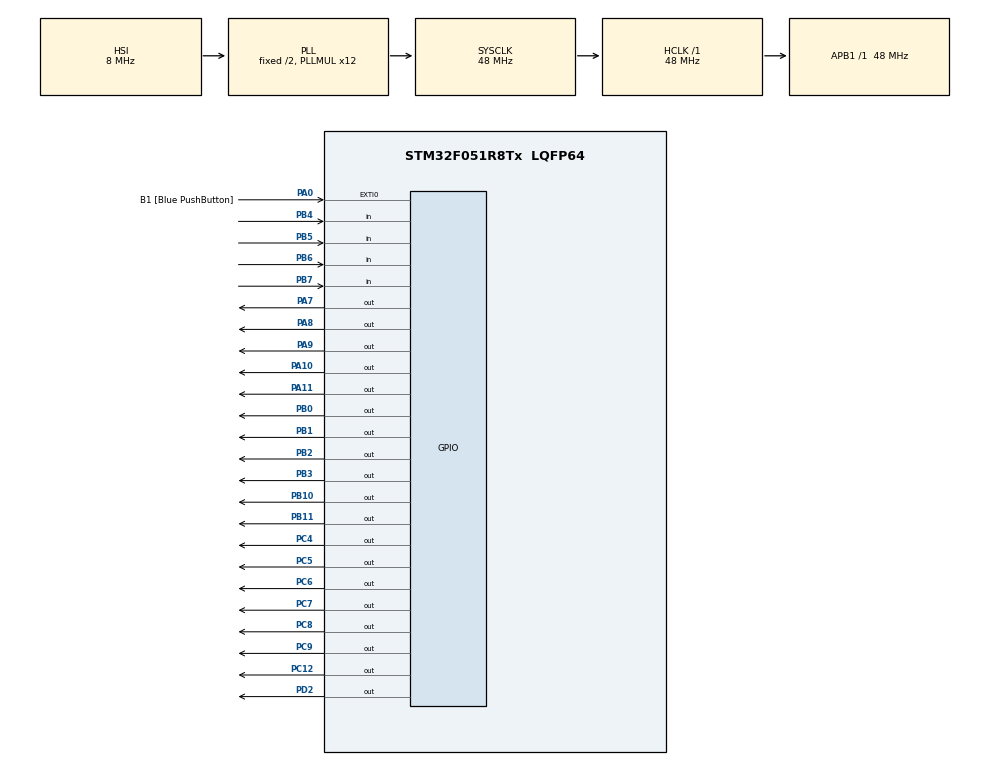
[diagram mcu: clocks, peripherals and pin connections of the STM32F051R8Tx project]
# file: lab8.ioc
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Mcu.Family=STM32F0
Mcu.Name=STM32F051R8Tx
Mcu.Package=LQFP64
NVIC.TIM1_BRK_UP_TRG_COM_IRQn=true\:0\:0\:false\:false\:true\:true
PA0.GPIO_Label=B1 [Blue PushButton]
PA0.GPIO_ModeDefaultEXTI=GPIO_MODE_EVT_RISING
PA0.Signal=GPXTI0
PA10.Signal=GPIO_Output
PA11.Signal=GPIO_Output
PA13.GPIO_Label=SWDIO
PA13.Mode=Serial_Wire
PA13.Signal=SYS_SWDIO
PA14.GPIO_Label=SWCLK
PA14.Mode=Serial_Wire
PA14.Signal=SYS_SWCLK
PA7.Signal=GPIO_Output
PA8.Signal=GPIO_Output
PA9.Signal=GPIO_Output
PB0.Signal=GPIO_Output
PB1.Signal=GPIO_Output
PB10.Signal=GPIO_Output
PB11.Signal=GPIO_Output
PB2.Signal=GPIO_Output
PB3.Signal=GPIO_Output
PB4.Signal=GPIO_Input
PB5.Signal=GPIO_Input
PB6.Signal=GPIO_Input
PB7.Signal=GPIO_Input
PC12.Signal=GPIO_Output
PC4.Signal=GPIO_Output
PC5.Signal=GPIO_Output
PC6.Signal=GPIO_Output
PC7.Signal=GPIO_Output
PC8.Signal=GPIO_Output
PC9.Signal=GPIO_Output
PD2.Signal=GPIO_Output
ProjectManager.HeapSize=0x200
ProjectManager.StackSize=0x400
ProjectManager.TargetToolchain=SW4STM32
RCC.AHBFreq_Value=48000000
RCC.APB1Freq_Value=48000000
RCC.APB1TimFreq_Value=48000000
RCC.HCLKFreq_Value=48000000
RCC.PLLMUL=RCC_PLL_MUL12
RCC.SYSCLKFreq_VALUE=48000000
RCC.SYSCLKSource=RCC_SYSCLKSOURCE_PLLCLK
TIM1.Period=49
TIM1.Prescaler=7999
TIM1.TIM_MasterOutputTrigger=TIM_TRGO_RESET
VP_TIM1_VS_ClockSourceINT.Mode=Internal
board=STM32F0DISCOVERY

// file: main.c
/**
 ******************************************************************************
 * @file           : main.c
 * @brief          : Main program body
 ******************************************************************************
 ** This notice applies to any and all portions of this file
 * that are not between comment pairs USER CODE BEGIN and
 * USER CODE END. Other portions of this file, whether
 * inserted by the user or by software development tools
 * are owned by their respective copyright owners.
 *
 * COPYRIGHT(c) 2018 STMicroelectronics
 *
 * Redistribution and use in source and binary forms, with or without modification,
 * are permitted provided that the following conditions are met:
 *   1. Redistributions of source code must retain the above copyright notice,
 *      this list of conditions and the following disclaimer.
 *   2. Redistributions in binary form must reproduce the above copyright notice,
 *      this list of conditions and the following disclaimer in the documentation
 *      and/or other materials provided with the distribution.
 *   3. Neither the name of STMicroelectronics nor the names of its contributors
 *      may be used to endorse or promote products derived from this software
 *      without specific prior written permission.
 *
 * THIS SOFTWARE IS PROVIDED BY THE COPYRIGHT HOLDERS AND CONTRIBUTORS "AS IS"
 * AND ANY EXPRESS OR IMPLIED WARRANTIES, INCLUDING, BUT NOT LIMITED TO, THE
 * IMPLIED WARRANTIES OF MERCHANTABILITY AND FITNESS FOR A PARTICULAR PURPOSE ARE
 * DISCLAIMED. IN NO EVENT SHALL THE COPYRIGHT HOLDER OR CONTRIBUTORS BE LIABLE
 * FOR ANY DIRECT, INDIRECT, INCIDENTAL, SPECIAL, EXEMPLARY, OR CONSEQUENTIAL
 * DAMAGES (INCLUDING, BUT NOT LIMITED TO, PROCUREMENT OF SUBSTITUTE GOODS OR
 * SERVICES; LOSS OF USE, DATA, OR PROFITS; OR BUSINESS INTERRUPTION) HOWEVER
 * CAUSED AND ON ANY THEORY OF LIABILITY, WHETHER IN CONTRACT, STRICT LIABILITY,
 * OR TORT (INCLUDING NEGLIGENCE OR OTHERWISE) ARISING IN ANY WAY OUT OF THE USE
 * OF THIS SOFTWARE, EVEN IF ADVISED OF THE POSSIBILITY OF SUCH DAMAGE.
 *
 ******************************************************************************
 */
#include "main.h"
#include "stm32f0xx_hal.h"
#include "tim.h"
#include "gpio.h"

/* USER CODE BEGIN PV */
/* Private variables ---------------------------------------------------------*/
volatile int count = 0;
static TIM_HandleTypeDef s_TimerInstance = {
		.Instance = TIM1
};
/* USER CODE END PV */

void SystemClock_Config(void);

/* USER CODE BEGIN PFP */
/* Private function prototypes -----------------------------------------------*/

/* USER CODE END PFP */

int main(void)
{

	/* MCU Configuration----------------------------------------------------------*/

	/* Reset of all peripherals, Initializes the Flash interface and the Systick. */
	HAL_Init();

	/* Configure the system clock */
	SystemClock_Config();

	/* USER CODE BEGIN SysInit */
	HAL_TIM_Base_MspInit(&s_TimerInstance);
	/* USER CODE END SysInit */
	/* Initialize all configured peripherals */
	MX_GPIO_Init();
	MX_TIM1_Init();
	/* USER CODE BEGIN 2 */
	HAL_TIM_Base_Start_IT(&s_TimerInstance);
	/* USER CODE END 2 */

	/* Infinite loop */
	while (1){

	}
}
void SystemClock_Config(void)
{

	RCC_OscInitTypeDef RCC_OscInitStruct;
	RCC_ClkInitTypeDef RCC_ClkInitStruct;

	/**Initializes the CPU, AHB and APB busses clocks
	 */
	RCC_OscInitStruct.OscillatorType = RCC_OSCILLATORTYPE_HSI;
	RCC_OscInitStruct.HSIState = RCC_HSI_ON;
	RCC_OscInitStruct.HSICalibrationValue = 16;
	RCC_OscInitStruct.PLL.PLLState = RCC_PLL_ON;
	RCC_OscInitStruct.PLL.PLLSource = RCC_PLLSOURCE_HSI;
	RCC_OscInitStruct.PLL.PLLMUL = RCC_PLL_MUL12;
	RCC_OscInitStruct.PLL.PREDIV = RCC_PREDIV_DIV1;
	if (HAL_RCC_OscConfig(&RCC_OscInitStruct) != HAL_OK)
	{
		_Error_Handler(__FILE__, __LINE__);
	}

	/**Initializes the CPU, AHB and APB busses clocks
	 */
	RCC_ClkInitStruct.ClockType = RCC_CLOCKTYPE_HCLK|RCC_CLOCKTYPE_SYSCLK
			|RCC_CLOCKTYPE_PCLK1;
	RCC_ClkInitStruct.SYSCLKSource = RCC_SYSCLKSOURCE_PLLCLK;
	RCC_ClkInitStruct.AHBCLKDivider = RCC_SYSCLK_DIV1;
	RCC_ClkInitStruct.APB1CLKDivider = RCC_HCLK_DIV1;

	if (HAL_RCC_ClockConfig(&RCC_ClkInitStruct, FLASH_LATENCY_1) != HAL_OK)
	{
		_Error_Handler(__FILE__, __LINE__);
	}

	/**Configure the Systick interrupt time
	 */
	HAL_SYSTICK_Config(HAL_RCC_GetHCLKFreq()/1000);

	/**Configure the Systick
	 */
	HAL_SYSTICK_CLKSourceConfig(SYSTICK_CLKSOURCE_HCLK);

	/* SysTick_IRQn interrupt configuration */
	HAL_NVIC_SetPriority(SysTick_IRQn, 0, 0);
}

/* USER CODE BEGIN 4 */
void write1(int digit) {
	HAL_GPIO_WritePin(GPIOA, GPIO_PIN_All, GPIO_PIN_RESET);
	HAL_GPIO_WritePin(GPIOC, GPIO_PIN_All, GPIO_PIN_RESET);
	switch(digit) {
	case 0:
		HAL_GPIO_WritePin(GPIOA, 0x0F00, GPIO_PIN_SET);
		HAL_GPIO_WritePin(GPIOC, 0x0300, GPIO_PIN_SET);
		break;
	case 1:
		HAL_GPIO_WritePin(GPIOA,0x0600, GPIO_PIN_SET);
		break;
	case 2:
		HAL_GPIO_WritePin(GPIOA, 0x0D00, GPIO_PIN_SET);
		HAL_GPIO_WritePin(GPIOC, 0x0280, GPIO_PIN_SET);
		break;
	case 3:
		HAL_GPIO_WritePin(GPIOA, 0x0F00, GPIO_PIN_SET);
		HAL_GPIO_WritePin(GPIOC, 0x0080, GPIO_PIN_SET);
		break;
	case 4:
		HAL_GPIO_WritePin(GPIOA, 0x0600, GPIO_PIN_SET);
		HAL_GPIO_WritePin(GPIOC, 0x0180, GPIO_PIN_SET);
		break;
	case 5:
		HAL_GPIO_WritePin(GPIOA, 0x0B00, GPIO_PIN_SET);
		HAL_GPIO_WritePin(GPIOC, 0x0180, GPIO_PIN_SET);
		break;
	case 6:
		HAL_GPIO_WritePin(GPIOA, 0x0B00, GPIO_PIN_SET);
		HAL_GPIO_WritePin(GPIOC, 0x0380, GPIO_PIN_SET);
		break;
	case 7:
		HAL_GPIO_WritePin(GPIOA, 0x0E00, GPIO_PIN_SET);
		break;
	case 8:
		HAL_GPIO_WritePin(GPIOA, 0x0F00, GPIO_PIN_SET);
		HAL_GPIO_WritePin(GPIOC, 0x0380, GPIO_PIN_SET);
		break;
	case 9:
		HAL_GPIO_WritePin(GPIOA, 0x0E00, GPIO_PIN_SET);
		HAL_GPIO_WritePin(GPIOC, 0x0180, GPIO_PIN_SET);
		break;
	}
}

void write10(int digit) {
	HAL_GPIO_WritePin(GPIOA, 0x0F00, GPIO_PIN_RESET);
	HAL_GPIO_WritePin(GPIOC, 0x0380, GPIO_PIN_RESET);
	switch(digit) {
	case 0:
		HAL_GPIO_WritePin(GPIOA, 0x0F00, GPIO_PIN_SET);
		HAL_GPIO_WritePin(GPIOC, 0x0300, GPIO_PIN_SET);
		break;
	case 1:
		HAL_GPIO_WritePin(GPIOA,0x0600, GPIO_PIN_SET);
		break;
	case 2:
		HAL_GPIO_WritePin(GPIOA, 0x0D00, GPIO_PIN_SET);
		HAL_GPIO_WritePin(GPIOC, 0x0280, GPIO_PIN_SET);
		break;
	case 3:
		HAL_GPIO_WritePin(GPIOA, 0x0F00, GPIO_PIN_SET);
		HAL_GPIO_WritePin(GPIOC, 0x0080, GPIO_PIN_SET);
		break;
	case 4:
		HAL_GPIO_WritePin(GPIOA, 0x0600, GPIO_PIN_SET);
		HAL_GPIO_WritePin(GPIOC, 0x0180, GPIO_PIN_SET);
		break;
	case 5:
		HAL_GPIO_WritePin(GPIOA, 0x0B00, GPIO_PIN_SET);
		HAL_GPIO_WritePin(GPIOC, 0x0180, GPIO_PIN_SET);
		break;
	case 6:
		HAL_GPIO_WritePin(GPIOA, 0x0B00, GPIO_PIN_SET);
		HAL_GPIO_WritePin(GPIOC, 0x0380, GPIO_PIN_SET);
		break;
	case 7:
		HAL_GPIO_WritePin(GPIOA, 0x0E00, GPIO_PIN_SET);
		break;
	case 8:
		HAL_GPIO_WritePin(GPIOA, 0x0F00, GPIO_PIN_SET);
		HAL_GPIO_WritePin(GPIOC, 0x0380, GPIO_PIN_SET);
		break;
	case 9:
		HAL_GPIO_WritePin(GPIOA, 0x0E00, GPIO_PIN_SET);
		HAL_GPIO_WritePin(GPIOC, 0x0180, GPIO_PIN_SET);
		break;
	}
}

extern void TIM2_IRQHandler()
{
	HAL_TIM_IRQHandler(&s_TimerInstance);
}

void HAL_TIM_PeriodElapsedCallback(TIM_HandleTypeDef *htim)
{
	write1(count);
	if(count == 9) {
		count = 0;
	}
	count++;
}

/* USER CODE END 4 */

void _Error_Handler(char *file, int line)
{
	while(1)
	{
	}
}

/************************ (C) COPYRIGHT STMicroelectronics *****END OF FILE****/
